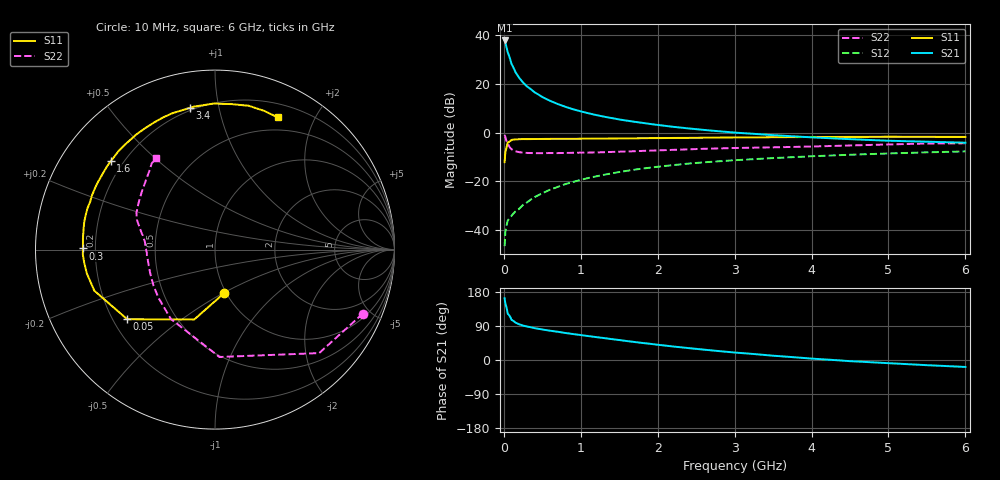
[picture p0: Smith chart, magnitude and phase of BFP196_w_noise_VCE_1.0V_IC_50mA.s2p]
! (c) 2017  Infineon Technologies AG, Munich
! Infineon Technologies  Discrete & RF Semiconductors
! BFP196
! VCE =  1.0 V,  IC =  50 mA
! Common Emitter S-Parameters:  Jan 2017
# GHz  S  MA  R  50
!  f  S11  S21  S12  S22
! GHz  MAG  ANG  MAG  ANG  MAG  ANG  MAG  ANG
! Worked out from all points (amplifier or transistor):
!   77 points, 10 MHz to 6 GHz, reference 50 ohm
!   highest |S21| = 37.8 dB at 10 MHz (marker M1)
!   |S21| within 3 dB of that: start of sweep to 36.15 MHz
!   unconditionally stable (mu >= 1): 458.1 MHz to 2.763 GHz
!   at 130 MHz: K = 0.67, MSG = 29.6 dB, |S12| = -33.0 dB
!   at 2.2 GHz: K = 1.02, MAG = 7.1 dB, |S12| = -13.3 dB
!   at 6 GHz: K = 0.99, MSG = 1.8 dB, |S12| = -7.7 dB
!   lowest NFmin = 1.45 dB at 450 MHz
!   S11 on the Smith chart (normalised r, x): 10 MHz: 0.98, -0.51; 50 MHz: 0.26, -0.33; 300 MHz: 0.15, +0.00; 1.6 GHz: 0.15, +0.36; 3.4 GHz: 0.19, +0.82; 6 GHz: 0.35, +1.52
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0.01  0.2478 -78.1  77.38 162.9  0.0047 76.9  0.8979 -23.4
0.02  0.4059 -106.5  69.73 148.5  0.0093 68.3  0.8181 -44.8
0.05  0.6244 -141.6  44.63 122.3  0.0157 50.0  0.5989 -87.6
0.1  0.7103 -161.2  25.5 105.8  0.0197 49.1  0.4582 -122.4
0.15  0.7263 -169.4  17.44 98.8  0.0242 52.9  0.4144 -139.4
0.2  0.732 -174.1  13.21 94.2  0.0275 56.5  0.3974 -149.4
0.25  0.7371 -177.9  10.61 90.8  0.033 59.8  0.388 -155.9
0.3  0.7358 179.5  8.868 88.4  0.037 61.6  0.3835 -160.8
0.4  0.7384 175.2  6.695 84.0  0.0476 64.4  0.3796 -166.9
0.5  0.7409 171.4  5.36 80.5  0.0571 65.0  0.3788 -171.2
0.6  0.7446 168.1  4.49 77.3  0.0675 65.4  0.3809 -174.5
0.7  0.7457 165.1  3.854 74.5  0.077 66.0  0.3801 -177.1
0.8  0.7468 162.1  3.382 71.3  0.0879 65.5  0.3827 -179.3
0.9  0.7449 159.0  3.008 68.5  0.0974 64.4  0.3853 179.0
1.1  0.7507 153.4  2.489 63.1  0.1175 62.4  0.3903 175.5
1.6  0.7617 139.8  1.757 50.0  0.1648 55.6  0.4094 169.0
2.1  0.7732 126.8  1.374 38.0  0.2074 48.2  0.4373 163.7
3.1  0.7963 105.6  0.977 18.2  0.277 33.9  0.4864 153.5
3.4  0.8017 100.2  0.908 13.1  0.2944 30.1  0.4954 149.8
4.1  0.8131 89.0  0.786 2.4  0.3318 21.3  0.5236 140.5
5.1  0.8217 75.5  0.675 -9.4  0.3775 9.6  0.5767 129.0
6  0.8153 64.7  0.621 -18.4  0.4119 -0.2  0.6035 122.7
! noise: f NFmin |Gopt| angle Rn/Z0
0.45  1.45  0.4  -176  0.06
0.9  1.6  0.47  -164  0.08
1.9  2.42  0.68  -132  0.32
2.4  2.82  0.7  -119  0.66
